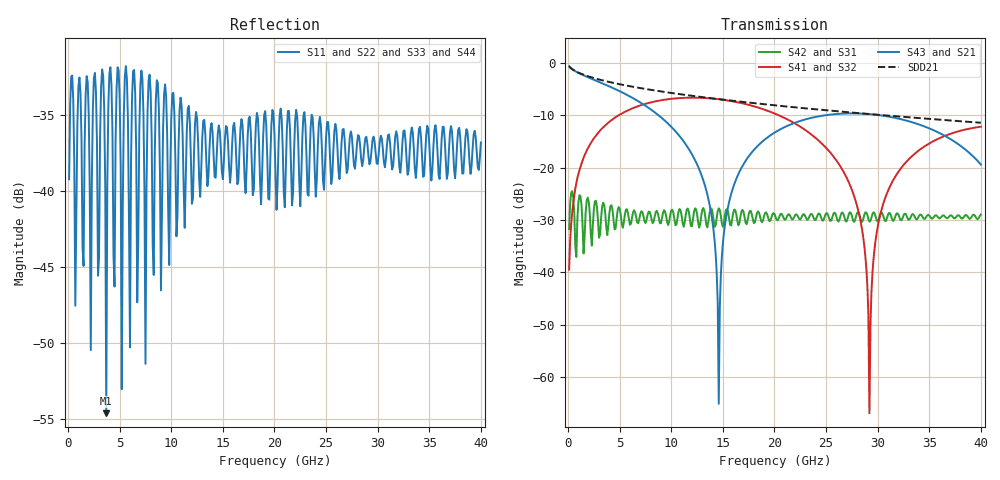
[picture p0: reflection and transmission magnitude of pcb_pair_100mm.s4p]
! modeled coupled pair, 100 mm
# GHZ S RI R 50
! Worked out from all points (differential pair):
!   400 points, 100 MHz to 40 GHz, reference 50 ohm
!   strongest paths, dB at 100 MHz, 10.1 GHz, 20.1 GHz, 30.1 GHz, 40 GHz:
!     S43: -0.6, -12.4, -13.2, -9.9, -19.4
!     S21: -0.6, -12.4, -13.2, -9.9, -19.4
!     S41: -39.5, -6.8, -9.7, -30.3, -12.1
!     S32: -39.5, -6.8, -9.7, -30.3, -12.1
!     S42: -31.7, -28.0, -29.4, -29.9, -28.9
!     S31: -31.7, -28.0, -29.4, -29.9, -28.9
!   taken as a pair (ports 3,1 in; 4,2 out), SDD21 dB: -0.6, -5.7, -8.1, -9.9, -11.4
!   lowest |S11| = -54.6 dB at 3.7 GHz (marker M1), VSWR 1.00, Z = 50.2 + j0.00483 ohm
!   |S11| at or under -10 dB: start of sweep to end of sweep
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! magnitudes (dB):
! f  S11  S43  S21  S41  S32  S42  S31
! 100 MHz  -39.2  -0.6  -0.6  -39.5  -39.5  -31.7  -31.7
! 3.7 GHz  -54.6  -4.2  -4.2  -11.7  -11.7  -31.3  -31.3
! 14.6 GHz  -35.7  -65.1  -65.1  -6.9  -6.9  -27.8  -27.8
! 16.7 GHz  -35.9  -20.4  -20.4  -7.6  -7.6  -29.3  -29.3
! 27.4 GHz  -36.1  -9.6  -9.6  -23.7  -23.7  -28.6  -28.6
! 29.2 GHz  -38.3  -9.7  -9.7  -66.9  -66.9  -30.3  -30.3
! 40 GHz  -36.8  -19.4  -19.4  -12.1  -12.1  -28.9  -28.9
